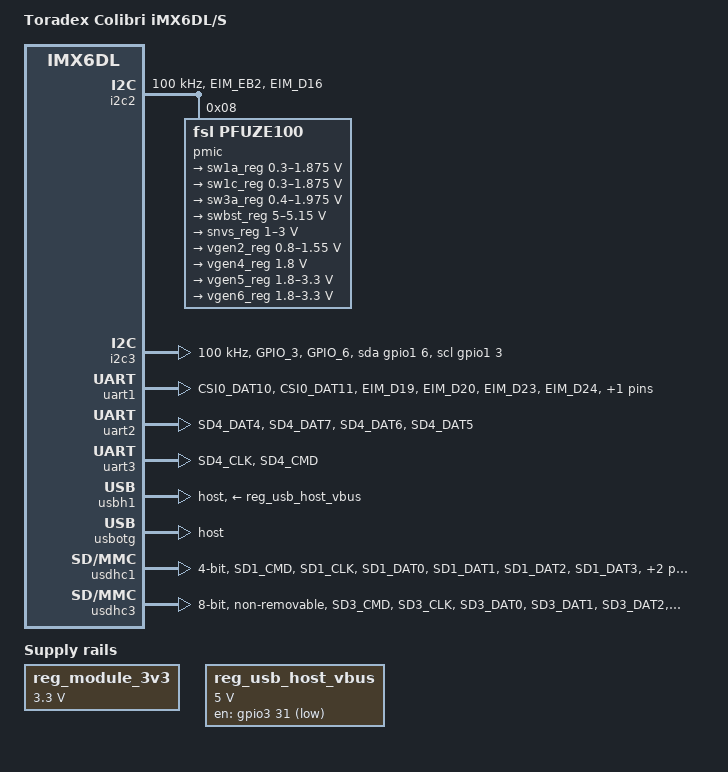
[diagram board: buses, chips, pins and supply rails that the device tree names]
// SPDX-License-Identifier: GPL-2.0+ OR X11
/*
 * Copyright 2019 Toradex AG
 */

/dts-v1/;
#include <dt-bindings/gpio/gpio.h>
#include "imx6dl.dtsi"

/ {
	model = "Toradex Colibri iMX6DL/S";
	compatible = "toradex,colibri_imx6dl", "fsl,imx6dl";

	/* Will be filled by the bootloader */
	memory@10000000 {
		device_type = "memory";
		reg = <0x10000000 0>;
	};

	aliases {
		mmc0 = &usdhc3;
		mmc1 = &usdhc1;
		usb0 = &usbotg; /* required for ums */
	};

	chosen {
		stdout-path = &uart1;
	};

	reg_module_3v3: regulator-module-3v3 {
		compatible = "regulator-fixed";
		regulator-name = "+V3.3";
		regulator-min-microvolt = <3300000>;
		regulator-max-microvolt = <3300000>;
		regulator-always-on;
	};

	reg_usb_host_vbus: regulator-usb-host-vbus {
		compatible = "regulator-fixed";
		pinctrl-names = "default";
		pinctrl-0 = <&pinctrl_regulator_usbh_pwr>;
		regulator-name = "usb_host_vbus";
		regulator-min-microvolt = <5000000>;
		regulator-max-microvolt = <5000000>;
		gpio = <&gpio3 31 GPIO_ACTIVE_LOW>; /* USBH_PEN */
	};
};

/*
 * PWR_I2C: power I2C to audio codec, PMIC, temperature sensor and
 * touch screen controller
 */
&i2c2 {
	clock-frequency = <100000>;
	pinctrl-names = "default";
	pinctrl-0 = <&pinctrl_i2c2>;
	status = "okay";

	pmic: pfuze100@8 {
		compatible = "fsl,pfuze100";
		reg = <0x08>;

		regulators {
			sw1a_reg: sw1ab {
				regulator-min-microvolt = <300000>;
				regulator-max-microvolt = <1875000>;
				regulator-boot-on;
				regulator-always-on;
				regulator-ramp-delay = <6250>;
			};

			sw1c_reg: sw1c {
				regulator-min-microvolt = <300000>;
				regulator-max-microvolt = <1875000>;
				regulator-boot-on;
				regulator-always-on;
				regulator-ramp-delay = <6250>;
			};

			sw3a_reg: sw3a {
				regulator-min-microvolt = <400000>;
				regulator-max-microvolt = <1975000>;
				regulator-boot-on;
				regulator-always-on;
			};

			swbst_reg: swbst {
				regulator-min-microvolt = <5000000>;
				regulator-max-microvolt = <5150000>;
				regulator-boot-on;
				regulator-always-on;
			};

			snvs_reg: vsnvs {
				regulator-min-microvolt = <1000000>;
				regulator-max-microvolt = <3000000>;
				regulator-boot-on;
				regulator-always-on;
			};

			vref_reg: vrefddr {
				regulator-boot-on;
				regulator-always-on;
			};

			/* vgen1: unused */

			vgen2_reg: vgen2 {
				regulator-min-microvolt = <800000>;
				regulator-max-microvolt = <1550000>;
				regulator-boot-on;
				regulator-always-on;
			};

			/* vgen3: unused */

			vgen4_reg: vgen4 {
				regulator-min-microvolt = <1800000>;
				regulator-max-microvolt = <1800000>;
				regulator-boot-on;
				regulator-always-on;
			};

			vgen5_reg: vgen5 {
				regulator-min-microvolt = <1800000>;
				regulator-max-microvolt = <3300000>;
				regulator-boot-on;
				regulator-always-on;
			};

			vgen6_reg: vgen6 {
				regulator-min-microvolt = <1800000>;
				regulator-max-microvolt = <3300000>;
				regulator-boot-on;
				regulator-always-on;
			};
		};
	};
};

/*
 * I2C3_SDA/SCL on SODIMM 194/196 (e.g. RTC on carrier board)
 */
&i2c3 {
	clock-frequency = <100000>;
	pinctrl-names = "default", "gpio";
	pinctrl-0 = <&pinctrl_i2c3>;
	pinctrl-1 = <&pinctrl_i2c3_recovery>;
	scl-gpios = <&gpio1 3 (GPIO_ACTIVE_HIGH | GPIO_OPEN_DRAIN)>;
	sda-gpios = <&gpio1 6 (GPIO_ACTIVE_HIGH | GPIO_OPEN_DRAIN)>;
	status = "okay";
};

/* Colibri UART_A */
&uart1 {
	pinctrl-names = "default";
	pinctrl-0 = <&pinctrl_uart1_dte &pinctrl_uart1_ctrl>;
	fsl,dte-mode;
	uart-has-rtscts;
	status = "okay";
};

/* Colibri UART_B */
&uart2 {
	pinctrl-names = "default";
	pinctrl-0 = <&pinctrl_uart2_dte>;
	fsl,dte-mode;
	uart-has-rtscts;
	status = "okay";
};

/* Colibri UART_C */
&uart3 {
	pinctrl-names = "default";
	pinctrl-0 = <&pinctrl_uart3_dte>;
	fsl,dte-mode;
	status = "okay";
};

/* Colibri USBH */
&usbh1 {
	dr_mode = "host";
	vbus-supply = <&reg_usb_host_vbus>;
	status = "okay";
};

/* Colibri USBC */
&usbotg {
	dr_mode = "host";
	status = "okay";
};

/* Colibri MMC */
&usdhc1 {
	pinctrl-names = "default";
	pinctrl-0 = <&pinctrl_usdhc1 &pinctrl_mmc_cd>;
	cd-gpios = <&gpio2 5 GPIO_ACTIVE_LOW>; /* MMCD */
	disable-wp;
	vqmmc-supply = <&reg_module_3v3>;
	bus-width = <4>;
	no-1-8-v;
	status = "okay";
};

/* eMMC */
&usdhc3 {
	pinctrl-names = "default";
	pinctrl-0 = <&pinctrl_usdhc3>;
	vqmmc-supply = <&reg_module_3v3>;
	bus-width = <8>;
	no-1-8-v;
	non-removable;
	status = "okay";
};

&iomuxc {
	pinctrl_ecspi4: ecspi4grp {
		fsl,pins = <
			MX6QDL_PAD_EIM_D22__ECSPI4_MISO	0x100b1
			MX6QDL_PAD_EIM_D28__ECSPI4_MOSI	0x100b1
			MX6QDL_PAD_EIM_D21__ECSPI4_SCLK	0x100b1
			/* SPI CS */
			MX6QDL_PAD_EIM_A25__GPIO5_IO02	0x000b1
		>;
	};

	pinctrl_enet: enetgrp {
		fsl,pins = <
			MX6QDL_PAD_ENET_MDC__ENET_MDC		0x1b0b0
			MX6QDL_PAD_ENET_MDIO__ENET_MDIO		0x1b0b0
			MX6QDL_PAD_ENET_RXD0__ENET_RX_DATA0	0x1b0b0
			MX6QDL_PAD_ENET_RXD1__ENET_RX_DATA1	0x1b0b0
			MX6QDL_PAD_ENET_RX_ER__ENET_RX_ER	0x1b0b0
			MX6QDL_PAD_ENET_TX_EN__ENET_TX_EN	0x1b0b0
			MX6QDL_PAD_ENET_TXD0__ENET_TX_DATA0	0x1b0b0
			MX6QDL_PAD_ENET_TXD1__ENET_TX_DATA1	0x1b0b0
			MX6QDL_PAD_ENET_CRS_DV__ENET_RX_EN	0x1b0b0
			MX6QDL_PAD_GPIO_16__ENET_REF_CLK     ((1<<30) | 0x1b0b0)
		>;
	};

	pinctrl_gpio_bl_on: gpioblon {
		fsl,pins = <
			MX6QDL_PAD_EIM_D26__GPIO3_IO26	0x1b0b0
		>;
	};

	pinctrl_hdmi_ddc: hdmiddcgrp {
		fsl,pins = <
			MX6QDL_PAD_KEY_COL3__HDMI_TX_DDC_SCL	0x4001b8b1
			MX6QDL_PAD_KEY_ROW3__HDMI_TX_DDC_SDA	0x4001b8b1
		>;
	};

	pinctrl_i2c2: i2c2grp {
		fsl,pins = <
			MX6QDL_PAD_EIM_EB2__I2C2_SCL	0x4001b8b1
			MX6QDL_PAD_EIM_D16__I2C2_SDA	0x4001b8b1
		>;
	};

	pinctrl_i2c3: i2c3grp {
		fsl,pins = <
			MX6QDL_PAD_GPIO_3__I2C3_SCL	0x4001b8b1
			MX6QDL_PAD_GPIO_6__I2C3_SDA	0x4001b8b1
		>;
	};

	pinctrl_i2c3_recovery: i2c3recoverygrp {
		fsl,pins = <
			MX6QDL_PAD_GPIO_3__GPIO1_IO03	0x4001b8b1
			MX6QDL_PAD_GPIO_6__GPIO1_IO06	0x4001b8b1
		>;
	};

	pinctrl_ipu1_lcdif: ipu1lcdifgrp {
		fsl,pins = <
			MX6QDL_PAD_DI0_DISP_CLK__IPU1_DI0_DISP_CLK	0xa1
			MX6QDL_PAD_DI0_PIN15__IPU1_DI0_PIN15		0xa1
			MX6QDL_PAD_DI0_PIN2__IPU1_DI0_PIN02		0xa1
			MX6QDL_PAD_DI0_PIN3__IPU1_DI0_PIN03		0xa1
			MX6QDL_PAD_DISP0_DAT0__IPU1_DISP0_DATA00	0xa1
			MX6QDL_PAD_DISP0_DAT1__IPU1_DISP0_DATA01	0xa1
			MX6QDL_PAD_DISP0_DAT2__IPU1_DISP0_DATA02	0xa1
			MX6QDL_PAD_DISP0_DAT3__IPU1_DISP0_DATA03	0xa1
			MX6QDL_PAD_DISP0_DAT4__IPU1_DISP0_DATA04	0xa1
			MX6QDL_PAD_DISP0_DAT5__IPU1_DISP0_DATA05	0xa1
			MX6QDL_PAD_DISP0_DAT6__IPU1_DISP0_DATA06	0xa1
			MX6QDL_PAD_DISP0_DAT7__IPU1_DISP0_DATA07	0xa1
			MX6QDL_PAD_DISP0_DAT8__IPU1_DISP0_DATA08	0xa1
			MX6QDL_PAD_DISP0_DAT9__IPU1_DISP0_DATA09	0xa1
			MX6QDL_PAD_DISP0_DAT10__IPU1_DISP0_DATA10	0xa1
			MX6QDL_PAD_DISP0_DAT11__IPU1_DISP0_DATA11	0xa1
			MX6QDL_PAD_DISP0_DAT12__IPU1_DISP0_DATA12	0xa1
			MX6QDL_PAD_DISP0_DAT13__IPU1_DISP0_DATA13	0xa1
			MX6QDL_PAD_DISP0_DAT14__IPU1_DISP0_DATA14	0xa1
			MX6QDL_PAD_DISP0_DAT15__IPU1_DISP0_DATA15	0xa1
			MX6QDL_PAD_DISP0_DAT16__IPU1_DISP0_DATA16	0xa1
			MX6QDL_PAD_DISP0_DAT17__IPU1_DISP0_DATA17	0xa1
		>;
	};

	pinctrl_mmc_cd: gpiommccd {
		fsl,pins = <
			MX6QDL_PAD_NANDF_D5__GPIO2_IO05	0x1b0b1
		>;
	};

	pinctrl_pwm1: pwm1grp {
		fsl,pins = <
			MX6QDL_PAD_GPIO_9__PWM1_OUT	0x1b0b1
		>;
	};

	pinctrl_pwm2: pwm2grp {
		fsl,pins = <
			MX6QDL_PAD_GPIO_1__PWM2_OUT	0x1b0b1
			MX6QDL_PAD_EIM_A21__GPIO2_IO17	0x00040
		>;
	};

	pinctrl_pwm3: pwm3grp {
		fsl,pins = <
			MX6QDL_PAD_SD4_DAT1__PWM3_OUT	0x1b0b1
			MX6QDL_PAD_EIM_A22__GPIO2_IO16	0x00040
		>;
	};

	pinctrl_pwm4: pwm4grp {
		fsl,pins = <
			MX6QDL_PAD_SD4_DAT2__PWM4_OUT	0x1b0b1
		>;
	};

	pinctrl_regulator_usbh_pwr: gpioregusbhpwrgrp {
		fsl,pins = <
			/* SODIMM 129 USBH_PEN */
			MX6QDL_PAD_EIM_D31__GPIO3_IO31	0x0f058
		>;
	};

	pinctrl_uart1_dce: uart1dcegrp {
		fsl,pins = <
			MX6QDL_PAD_CSI0_DAT10__UART1_TX_DATA	0x1b0b1
			MX6QDL_PAD_CSI0_DAT11__UART1_RX_DATA	0x1b0b1
		>;
	};

	/* DTE mode */
	pinctrl_uart1_dte: uart1dtegrp {
		fsl,pins = <
			MX6QDL_PAD_CSI0_DAT10__UART1_RX_DATA	0x1b0b1
			MX6QDL_PAD_CSI0_DAT11__UART1_TX_DATA	0x1b0b1
			MX6QDL_PAD_EIM_D19__UART1_RTS_B		0x1b0b1
			MX6QDL_PAD_EIM_D20__UART1_CTS_B		0x1b0b1
		>;
	};

	/* Additional DTR, DSR, DCD */
	pinctrl_uart1_ctrl: uart1ctrlgrp {
		fsl,pins = <
			MX6QDL_PAD_EIM_D23__UART1_DCD_B	0x1b0b0
			MX6QDL_PAD_EIM_D24__UART1_DTR_B	0x1b0b0
			MX6QDL_PAD_EIM_D25__UART1_DSR_B	0x1b0b0
		>;
	};

	pinctrl_uart2_dte: uart2dtegrp {
		fsl,pins = <
			MX6QDL_PAD_SD4_DAT4__UART2_TX_DATA	0x1b0b1
			MX6QDL_PAD_SD4_DAT7__UART2_RX_DATA	0x1b0b1
			MX6QDL_PAD_SD4_DAT6__UART2_RTS_B	0x1b0b1
			MX6QDL_PAD_SD4_DAT5__UART2_CTS_B	0x1b0b1
		>;
	};

	pinctrl_uart3_dte: uart3dtegrp {
		fsl,pins = <
			MX6QDL_PAD_SD4_CLK__UART3_TX_DATA	0x1b0b1
			MX6QDL_PAD_SD4_CMD__UART3_RX_DATA	0x1b0b1
		>;
	};

	pinctrl_usdhc1: usdhc1grp {
		fsl,pins = <
			MX6QDL_PAD_SD1_CMD__SD1_CMD	0x17071
			MX6QDL_PAD_SD1_CLK__SD1_CLK	0x10071
			MX6QDL_PAD_SD1_DAT0__SD1_DATA0	0x17071
			MX6QDL_PAD_SD1_DAT1__SD1_DATA1	0x17071
			MX6QDL_PAD_SD1_DAT2__SD1_DATA2	0x17071
			MX6QDL_PAD_SD1_DAT3__SD1_DATA3	0x17071
		>;
	};

	pinctrl_usdhc3: usdhc3grp {
		fsl,pins = <
			MX6QDL_PAD_SD3_CMD__SD3_CMD	0x17059
			MX6QDL_PAD_SD3_CLK__SD3_CLK	0x10059
			MX6QDL_PAD_SD3_DAT0__SD3_DATA0	0x17059
			MX6QDL_PAD_SD3_DAT1__SD3_DATA1	0x17059
			MX6QDL_PAD_SD3_DAT2__SD3_DATA2	0x17059
			MX6QDL_PAD_SD3_DAT3__SD3_DATA3	0x17059
			MX6QDL_PAD_SD3_DAT4__SD3_DATA4	0x17059
			MX6QDL_PAD_SD3_DAT5__SD3_DATA5	0x17059
			MX6QDL_PAD_SD3_DAT6__SD3_DATA6	0x17059
			MX6QDL_PAD_SD3_DAT7__SD3_DATA7	0x17059
			/* eMMC reset */
			MX6QDL_PAD_SD3_RST__SD3_RESET	0x17059
		>;
	};
};
